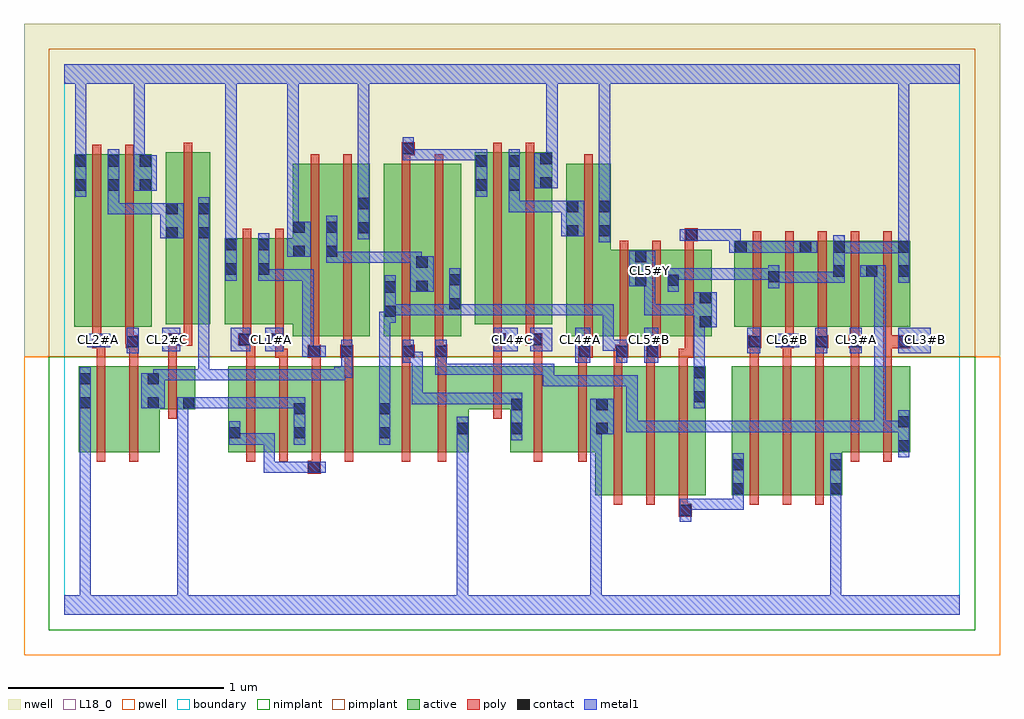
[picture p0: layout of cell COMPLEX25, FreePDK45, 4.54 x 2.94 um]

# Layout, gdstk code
import gdstk
lib = gdstk.Library(unit=1e-6, precision=1e-09)
def R(c, l, rs):  # rectangles x0, y0, x1, y1
    for r in rs: c.add(gdstk.rectangle(r[:2], r[2:], *l))
def A(c, l, x, y, w, h, nx, ny, dx, dy):  # array of equal rectangles
    R(c, l, [(x+i*dx, y+j*dy, x+i*dx+w, y+j*dy+h) for i in range(nx) for j in range(ny)])
active = (1, 0)
pwell = (2, 0)
nwell = (3, 0)
nimplant = (4, 0)
pimplant = (5, 0)
poly = (9, 0)
contact = (10, 0)
metal1 = (11, 0)
L18_0 = (18, 0)
boundary = (235, 0)

complex25 = lib.new_cell('COMPLEX25')
R(complex25, active, [(2.468,0.556,2.648,1.156), (2.648,0.556,2.8,1.156), (2.8,0.556,2.98,1.156), (2.92,0.556,2.98,1.156), (3.102,0.556,3.282,1.156), (3.102,0.556,3.162,0.728), (3.282,0.556,3.434,1.156), (3.434,0.556,3.614,1.156), (3.554,0.556,3.614,0.756), (2.468,0.662,2.528,1.05), (0.066,0.756,0.126,1.156), (0.066,0.756,0.246,1.156), (0.246,0.756,0.442,1.156), (0.382,0.756,0.442,1.156), (0.762,0.756,0.822,1.156), (0.762,0.756,0.942,1.156), (0.942,0.756,1.122,1.156), (1.062,0.756,1.122,0.988), (1.062,0.756,1.246,1.156), (1.246,0.756,1.518,1.156), (1.458,0.756,1.678,1.156), (1.458,0.756,1.518,0.988), (1.678,0.756,1.88,1.156), (1.82,0.756,1.88,0.966), (2.072,0.756,2.276,1.156), (2.276,0.756,2.528,1.156), (3.554,0.756,3.75,1.156), (3.75,0.756,3.93,1.156), (3.87,0.756,3.93,1.156), (2.072,0.836,2.132,1.048), (0.382,0.956,0.608,1.156), (0.548,0.956,0.608,1.156), (1.82,0.956,2.132,1.156), (1.06,1.296,1.272,2.096), (1.212,1.296,1.42,2.096), (1.484,1.296,1.692,2.096), (1.484,1.296,1.544,2.044), (1.632,1.296,1.844,2.096), (1.784,1.296,1.844,2.044), (2.332,1.296,2.54,2.096), (2.332,1.296,2.392,2.044), (2.48,1.296,2.708,1.696), (2.648,1.296,2.708,1.696), (2.648,1.296,2.86,1.696), (2.8,1.296,3.008,1.696), (2.948,1.296,3.008,1.644), (2.8,1.336,2.86,1.696), (0.046,1.34,0.106,2.14), (0.046,1.34,0.258,2.14), (0.198,1.34,0.406,2.14), (0.346,1.34,0.406,2.14), (3.114,1.34,3.326,1.74), (3.266,1.34,3.474,1.74), (3.414,1.34,3.63,1.74), (3.57,1.34,3.782,1.74), (3.722,1.34,3.93,1.74), (3.87,1.34,3.93,1.74), (0.47,1.35,0.678,2.15), (0.47,1.35,0.53,2.044), (0.618,1.35,0.678,2.044), (0.744,1.35,0.804,1.75), (0.744,1.35,0.956,1.75), (0.896,1.35,1.12,1.75), (1.06,1.35,1.12,1.86), (1.212,1.35,1.272,2.044), (1.908,1.35,1.968,2.15), (1.908,1.35,2.12,2.15), (2.06,1.35,2.268,2.15), (2.208,1.35,2.268,2.15), (0.896,1.354,0.956,1.75), (3.722,1.368,3.782,1.644), (3.266,1.376,3.326,1.644), (3.414,1.376,3.474,1.74), (3.57,1.376,3.63,1.74), (1.36,1.452,1.42,2.044), (3.114,1.452,3.174,1.74), (1.632,1.498,1.692,2.044), (2.48,1.64,2.54,1.928), (0.198,1.686,0.258,2.14), (2.06,1.686,2.12,2.14)])
R(complex25, pwell, [(-0.188,-0.188,4.348,1.2)])
R(complex25, nwell, [(-0.188,1.2,4.348,2.748)])
R(complex25, nimplant, [(-0.072,-0.072,4.232,1.2)])
R(complex25, pimplant, [(-0.072,1.2,4.232,2.632)])
A(complex25, poly, 2.552, 0.512, 0.04, 0.688, 3, 1, 0.152, 0)
A(complex25, poly, 3.186, 0.512, 0.04, 0.688, 3, 1, 0.152, 0)
A(complex25, poly, 0.846, 0.712, 0.04, 0.488, 4, 1, 0.152, 0)
A(complex25, poly, 0.998, 1.16, 0.04, 0.076, 3, 1, 0.152, 0)
A(complex25, poly, 2.552, 1.16, 0.04, 0.076, 3, 1, 0.152, 0)
A(complex25, poly, 3.186, 1.16, 0.04, 0.12, 3, 1, 0.152, 0)
A(complex25, poly, 2.58, 1.252, 0.04, 0.488, 3, 1, 0.152, 0)
A(complex25, poly, 3.198, 1.26, 0.04, 0.076, 5, 1, 0.152, 0)
A(complex25, poly, 3.198, 1.296, 0.04, 0.488, 5, 1, 0.152, 0)
R(complex25, poly, [(2.856,0.456,2.916,0.516), (2.856,0.476,2.896,0.552), (1.13,0.656,1.19,0.716), (1.15,0.676,1.19,0.752), (0.15,0.712,0.19,1.2), (0.302,0.712,0.342,1.2), (1.568,0.712,1.608,1.2), (1.734,0.712,1.774,1.2), (2.18,0.712,2.22,1.2), (2.388,0.712,2.428,1.2), (3.654,0.712,3.694,1.2), (3.806,0.712,3.846,1.2), (0.482,0.912,0.522,1.2), (1.992,0.912,2.032,1.2), (0.15,1.16,0.19,1.28), (0.302,1.16,0.342,1.28), (0.482,1.16,0.522,1.29), (0.846,1.16,0.886,1.29), (1.568,1.16,1.608,1.236), (1.734,1.16,1.774,1.236), (1.992,1.16,2.032,1.29), (2.18,1.16,2.22,1.29), (2.388,1.16,2.428,1.236), (3.654,1.16,3.694,1.28), (3.806,1.16,3.846,1.28), (0.98,1.196,1.02,1.29), (0.98,1.196,1.038,1.236), (1.13,1.196,1.19,1.256), (1.15,1.196,1.19,1.236), (1.15,1.196,1.19,1.236), (1.282,1.196,1.342,1.256), (1.568,1.196,1.628,1.256), (1.72,1.196,1.78,1.256), (2.388,1.196,2.428,1.236), (2.388,1.196,2.428,1.236), (2.388,1.196,2.456,1.256), (2.552,1.196,2.6,1.236), (2.56,1.196,2.6,1.236), (2.56,1.196,2.62,1.256), (2.704,1.196,2.744,1.236), (2.704,1.196,2.744,1.236), (2.704,1.196,2.772,1.256), (2.856,1.196,2.924,1.236), (2.884,1.196,2.924,1.236), (2.884,1.196,2.924,1.236), (2.884,1.196,2.924,1.292), (1.144,1.216,1.184,1.292), (1.296,1.216,1.336,1.292), (1.296,1.216,1.336,1.256), (1.296,1.216,1.336,1.256), (1.568,1.216,1.608,1.292), (1.568,1.216,1.608,1.256), (1.568,1.216,1.608,1.256), (1.72,1.216,1.76,1.292), (1.72,1.216,1.76,1.256), (1.72,1.216,1.76,1.256), (2.416,1.216,2.456,1.292), (2.58,1.216,2.62,1.292), (2.732,1.216,2.772,1.292), (0.13,1.24,0.19,1.3), (0.286,1.24,0.346,1.3), (3.178,1.24,3.238,1.3), (3.33,1.24,3.39,1.3), (3.338,1.24,3.378,1.28), (3.338,1.24,3.378,1.28), (3.49,1.24,3.53,1.28), (3.49,1.24,3.53,1.28), (3.49,1.24,3.55,1.3), (3.646,1.24,3.706,1.3), (3.654,1.24,3.694,1.28), (3.654,1.24,3.694,1.28), (3.806,1.24,3.846,1.28), (3.806,1.24,3.846,1.28), (3.806,1.24,3.93,1.3), (0.482,1.25,0.522,1.29), (0.482,1.25,0.522,1.29), (0.482,1.25,0.594,1.31), (0.808,1.25,0.868,1.31), (0.828,1.25,0.868,1.29), (0.828,1.25,0.886,1.29), (0.96,1.25,1.02,1.31), (1.992,1.25,2.032,1.29), (1.992,1.25,2.032,1.29), (1.992,1.25,2.052,1.31), (2.144,1.25,2.22,1.31), (2.18,1.25,2.22,1.29), (2.18,1.25,2.22,1.29), (1.144,1.252,1.184,2.14), (1.296,1.252,1.336,2.14), (1.568,1.252,1.608,2.14), (1.72,1.252,1.76,2.14), (2.416,1.252,2.456,2.14), (0.13,1.26,0.17,1.336), (0.13,1.26,0.17,1.3), (0.13,1.26,0.17,1.3), (0.282,1.26,0.322,1.336), (0.282,1.26,0.326,1.3), (0.286,1.26,0.326,1.3), (3.198,1.26,3.238,1.3), (3.198,1.26,3.238,1.3), (0.554,1.27,0.594,1.346), (0.828,1.27,0.868,1.346), (0.98,1.27,1.02,1.346), (1.992,1.27,2.032,1.346), (2.144,1.27,2.184,1.346), (0.13,1.296,0.17,2.184), (0.282,1.296,0.322,2.184), (0.554,1.306,0.594,2.194), (0.828,1.306,0.868,1.794), (0.98,1.306,1.02,1.794), (1.992,1.306,2.032,2.194), (2.144,1.306,2.184,2.194), (2.884,1.7,2.924,1.776), (2.884,1.736,2.944,1.796), (1.568,2.1,1.608,2.176), (1.568,2.136,1.628,2.196)])
R(complex25, contact, [(2.86,0.46,2.912,0.512), (3.106,0.56,3.158,0.612), (3.558,0.56,3.61,0.612), (1.134,0.66,1.186,0.712), (3.106,0.672,3.158,0.724), (3.558,0.672,3.61,0.724), (3.874,0.76,3.926,0.812), (0.766,0.82,0.818,0.872), (1.066,0.82,1.118,0.872), (1.462,0.82,1.514,0.872), (1.824,0.84,1.876,0.892), (2.076,0.84,2.128,0.892), (2.472,0.84,2.524,0.892), (3.874,0.872,3.926,0.924), (1.066,0.932,1.118,0.984), (1.462,0.932,1.514,0.984), (2.076,0.952,2.128,1.004), (2.472,0.952,2.524,1.004), (0.07,0.96,0.122,1.012), (0.386,0.96,0.438,1.012), (0.552,0.96,0.604,1.012), (2.924,0.988,2.976,1.04), (0.07,1.072,0.122,1.124), (0.386,1.072,0.438,1.124), (2.924,1.1,2.976,1.152), (1.134,1.2,1.186,1.252), (1.286,1.2,1.338,1.252), (1.572,1.2,1.624,1.252), (1.724,1.2,1.776,1.252), (2.392,1.2,2.444,1.252), (2.564,1.2,2.616,1.252), (2.708,1.2,2.76,1.252), (0.134,1.244,0.186,1.296), (0.29,1.244,0.342,1.296), (3.182,1.244,3.234,1.296), (3.334,1.244,3.386,1.296), (3.494,1.244,3.546,1.296), (3.65,1.244,3.702,1.296), (3.874,1.244,3.926,1.296), (0.486,1.254,0.538,1.306), (0.812,1.254,0.864,1.306), (0.964,1.254,1.016,1.306), (1.996,1.254,2.048,1.306), (2.164,1.254,2.216,1.306), (2.952,1.336,3.004,1.388), (1.488,1.386,1.54,1.438), (1.788,1.42,1.84,1.472), (2.952,1.448,3.004,1.5), (1.488,1.498,1.54,1.55), (1.636,1.502,1.688,1.554), (2.652,1.528,2.704,1.58), (2.804,1.53,2.856,1.582), (1.788,1.532,1.84,1.584), (3.27,1.546,3.322,1.598), (3.574,1.572,3.626,1.624), (3.726,1.572,3.778,1.624), (3.874,1.572,3.926,1.624), (0.748,1.582,0.8,1.634), (0.9,1.582,0.952,1.634), (1.636,1.614,1.688,1.666), (2.652,1.64,2.704,1.692), (1.064,1.664,1.116,1.716), (1.216,1.664,1.268,1.716), (3.118,1.684,3.17,1.736), (3.418,1.684,3.47,1.736), (3.574,1.684,3.626,1.736), (3.874,1.684,3.926,1.736), (0.748,1.694,0.8,1.746), (0.9,1.694,0.952,1.746), (2.888,1.74,2.94,1.792), (0.474,1.75,0.526,1.802), (0.622,1.75,0.674,1.802), (2.336,1.76,2.388,1.812), (2.484,1.76,2.536,1.812), (1.364,1.774,1.416,1.826), (1.064,1.776,1.116,1.828), (1.216,1.776,1.268,1.828), (0.474,1.862,0.526,1.914), (0.622,1.862,0.674,1.914), (2.336,1.872,2.388,1.924), (2.484,1.872,2.536,1.924), (1.364,1.886,1.416,1.938), (0.05,1.972,0.102,2.024), (0.202,1.972,0.254,2.024), (0.35,1.972,0.402,2.024), (1.912,1.972,1.964,2.024), (2.064,1.972,2.116,2.024), (2.212,1.982,2.264,2.034), (0.05,2.084,0.102,2.136), (0.202,2.084,0.254,2.136), (0.35,2.084,0.402,2.136), (1.912,2.084,1.964,2.136), (2.064,2.084,2.116,2.136), (2.212,2.094,2.264,2.146), (1.572,2.14,1.624,2.192)])
R(complex25, metal1, [(0,0,4.16,0.092), (0.07,0.04,0.122,0.092), (0.07,0.04,0.122,0.092), (0.07,0.04,0.122,0.092), (0.07,0.04,0.122,0.092), (0.07,0.04,0.122,0.092), (0.07,0.04,0.122,0.092), (0.07,0.04,0.122,0.092), (0.07,0.04,0.122,0.092), (0.07,0.04,0.122,0.092), (0.07,0.04,0.122,0.092), (0.07,0.04,0.122,0.092), (0.07,0.04,0.122,0.092), (0.07,0.04,0.122,0.984), (0.524,0.04,0.576,0.356), (1.824,0.04,1.876,0.092), (1.824,0.04,1.876,0.092), (1.824,0.04,1.876,0.092), (1.824,0.04,1.876,0.092), (1.824,0.04,1.876,0.092), (1.824,0.04,1.876,0.092), (1.824,0.04,1.876,0.092), (1.824,0.04,1.876,0.092), (1.824,0.04,1.876,0.092), (1.824,0.04,1.876,0.092), (1.824,0.04,1.876,0.092), (1.824,0.04,1.876,0.092), (1.824,0.04,1.876,0.864), (2.444,0.04,2.496,0.092), (2.444,0.04,2.496,0.092), (2.444,0.04,2.496,0.092), (2.444,0.04,2.496,0.092), (2.444,0.04,2.496,0.092), (2.444,0.04,2.496,0.092), (2.444,0.04,2.496,0.092), (2.444,0.04,2.496,0.092), (2.444,0.04,2.496,0.892), (3.558,0.04,3.61,0.584), (0.524,0.304,0.576,0.356), (0.524,0.304,0.576,0.356), (0.524,0.304,0.576,0.356), (0.524,0.304,0.576,0.356), (0.524,0.304,0.576,0.356), (0.524,0.304,0.576,0.356), (0.524,0.304,0.576,0.356), (0.524,0.304,0.576,0.356), (0.524,0.304,0.576,0.356), (0.524,0.304,0.576,0.356), (0.524,0.304,0.576,0.356), (0.524,0.304,0.576,0.356), (0.524,0.304,0.576,0.356), (0.524,0.304,0.576,0.356), (0.524,0.304,0.576,0.356), (0.524,0.304,0.576,1.012), (2.86,0.432,2.912,0.54), (2.86,0.488,2.966,0.54), (2.914,0.488,2.966,0.54), (2.914,0.488,3.158,0.54), (3.106,0.488,3.158,0.54), (3.106,0.488,3.158,0.584), (3.106,0.532,3.158,0.752), (3.558,0.532,3.61,0.584), (3.558,0.532,3.61,0.584), (3.558,0.532,3.61,0.584), (3.558,0.532,3.61,0.584), (3.558,0.532,3.61,0.584), (3.558,0.532,3.61,0.584), (3.558,0.532,3.61,0.584), (3.558,0.532,3.61,0.584), (3.558,0.532,3.61,0.752), (0.926,0.66,0.978,0.712), (0.926,0.66,0.978,0.712), (0.926,0.66,0.978,0.712), (0.926,0.66,1.158,0.712), (0.926,0.66,0.978,0.844), (1.106,0.66,1.158,0.712), (1.106,0.66,1.158,0.712), (1.106,0.66,1.214,0.712), (3.874,0.732,3.926,0.952), (0.766,0.792,0.818,0.844), (0.766,0.792,0.818,0.844), (0.766,0.792,0.818,0.9), (0.766,0.792,0.978,0.844), (0.926,0.792,0.978,0.844), (1.066,0.792,1.118,1.012), (1.462,0.792,1.514,1.012), (1.824,0.812,1.876,0.92), (2.076,0.812,2.128,1.032), (2.444,0.84,2.552,1.004), (2.612,0.85,2.664,0.902), (2.612,0.85,2.664,0.902), (2.612,0.85,2.664,0.902), (2.612,0.85,2.856,0.902), (2.612,0.85,2.664,1.114), (2.804,0.85,2.856,0.902), (2.804,0.85,2.856,0.902), (2.804,0.85,2.856,0.902), (2.804,0.85,3.088,0.902), (3.036,0.85,3.088,0.902), (3.036,0.85,3.088,0.902), (3.036,0.85,3.088,0.902), (3.036,0.85,3.088,0.902), (3.036,0.85,3.088,0.902), (3.036,0.85,3.198,0.902), (3.146,0.85,3.198,0.902), (3.146,0.85,3.332,0.902), (3.28,0.85,3.332,0.902), (3.28,0.85,3.332,0.902), (3.28,0.85,3.332,0.902), (3.28,0.85,3.5,0.902), (3.448,0.85,3.5,0.902), (3.448,0.85,3.5,0.902), (3.448,0.85,3.5,0.902), (3.448,0.85,3.64,0.902), (3.588,0.85,3.64,0.902), (3.588,0.85,3.816,0.902), (3.764,0.85,3.816,0.902), (3.764,0.85,3.816,0.902), (3.764,0.85,3.816,0.902), (3.764,0.85,3.816,0.902), (3.764,0.85,3.816,0.902), (3.764,0.85,3.816,0.902), (3.764,0.85,3.816,0.902), (3.764,0.85,3.926,0.902), (3.764,0.85,3.816,1.624), (3.874,0.85,3.926,0.902), (3.874,0.85,3.926,0.902), (0.07,0.932,0.122,1.152), (0.358,0.96,0.466,1.124), (0.524,0.96,0.632,1.012), (0.58,0.96,0.632,1.012), (0.58,0.96,0.632,1.012), (0.58,0.96,0.796,1.012), (0.744,0.96,0.796,1.012), (0.744,0.96,0.796,1.012), (0.744,0.96,0.796,1.012), (0.744,0.96,0.978,1.012), (0.926,0.96,0.978,1.012), (0.926,0.96,0.978,1.012), (0.926,0.96,0.978,1.012), (0.926,0.96,1.118,1.012), (1.462,0.96,1.514,1.012), (1.462,0.96,1.514,1.012), (1.462,0.96,1.514,1.012), (1.462,0.96,1.514,1.012), (1.462,0.96,1.514,1.41), (2.924,0.96,2.976,1.18), (1.614,0.98,1.666,1.032), (1.614,0.98,1.798,1.032), (1.614,0.98,1.666,1.224), (1.746,0.98,1.798,1.032), (1.746,0.98,1.798,1.032), (1.746,0.98,1.798,1.032), (1.746,0.98,1.95,1.032), (1.898,0.98,1.95,1.032), (1.898,0.98,1.95,1.032), (1.898,0.98,1.95,1.032), (1.898,0.98,2.128,1.032), (2.224,1.062,2.276,1.114), (2.224,1.062,2.444,1.114), (2.224,1.062,2.276,1.168), (2.392,1.062,2.444,1.114), (2.392,1.062,2.554,1.114), (2.502,1.062,2.554,1.114), (2.502,1.062,2.554,1.114), (2.502,1.062,2.554,1.114), (2.502,1.062,2.664,1.114), (2.612,1.062,2.664,1.114), (0.412,1.072,0.464,1.142), (0.412,1.09,0.464,1.142), (0.412,1.09,0.494,1.142), (0.442,1.09,0.494,1.142), (0.442,1.09,0.674,1.142), (0.622,1.09,0.674,1.142), (0.622,1.09,0.674,1.142), (0.622,1.09,0.674,1.142), (0.622,1.09,0.674,1.142), (0.622,1.09,0.674,1.142), (0.622,1.09,0.784,1.142), (0.622,1.09,0.674,1.774), (0.732,1.09,0.784,1.142), (0.732,1.09,0.936,1.142), (0.884,1.09,0.936,1.142), (0.884,1.09,0.936,1.142), (0.884,1.09,0.936,1.142), (0.884,1.09,1.126,1.142), (1.074,1.09,1.126,1.142), (1.074,1.09,1.126,1.142), (1.074,1.09,1.126,1.142), (1.074,1.09,1.306,1.142), (1.254,1.09,1.306,1.154), (1.254,1.102,1.338,1.154), (1.286,1.102,1.338,1.28), (1.724,1.116,1.776,1.224), (1.724,1.116,1.95,1.168), (1.898,1.116,1.95,1.168), (1.898,1.116,1.95,1.168), (1.898,1.116,1.95,1.168), (1.898,1.116,2.06,1.168), (2.008,1.116,2.06,1.168), (2.008,1.116,2.06,1.168), (2.008,1.116,2.06,1.168), (2.008,1.116,2.276,1.168), (2.224,1.116,2.276,1.168), (2.224,1.116,2.276,1.168), (2.224,1.116,2.276,1.168), (2.924,1.128,2.976,1.18), (2.924,1.128,2.976,1.18), (2.924,1.128,2.976,1.18), (2.924,1.128,2.976,1.18), (2.924,1.128,2.976,1.388), (1.572,1.172,1.624,1.28), (1.572,1.172,1.666,1.224), (1.614,1.172,1.666,1.224), (1.724,1.172,1.776,1.224), (1.724,1.172,1.776,1.28), (2.374,1.172,2.444,1.334), (2.564,1.172,2.616,1.28), (2.694,1.172,2.76,1.334), (1.106,1.2,1.158,1.252), (1.106,1.2,1.158,1.252), (1.106,1.2,1.214,1.252), (1.106,1.2,1.158,1.606), (0.29,1.216,0.346,1.334), (3.174,1.216,3.234,1.334), (3.49,1.216,3.546,1.334), (3.65,1.216,3.706,1.334), (3.874,1.216,4.026,1.334), (0.454,1.226,0.538,1.334), (0.774,1.226,0.864,1.334), (0.934,1.226,1.016,1.334), (1.996,1.226,2.106,1.334), (2.164,1.226,2.266,1.334), (2.502,1.228,2.554,1.28), (2.502,1.228,2.616,1.28), (2.502,1.228,2.554,1.444), (0.106,1.244,0.214,1.306), (3.306,1.244,3.414,1.306), (2.924,1.336,3.032,1.5), (1.462,1.358,1.514,1.41), (1.462,1.358,1.54,1.41), (1.488,1.358,1.54,1.578), (1.488,1.392,1.65,1.444), (1.598,1.392,1.65,1.444), (1.598,1.392,1.65,1.444), (1.598,1.392,1.65,1.444), (1.598,1.392,1.84,1.444), (1.788,1.392,1.84,1.444), (1.788,1.392,1.84,1.444), (1.788,1.392,1.84,1.612), (1.788,1.392,1.95,1.444), (1.898,1.392,1.95,1.444), (1.898,1.392,1.95,1.444), (1.898,1.392,1.95,1.444), (1.898,1.392,2.06,1.444), (2.008,1.392,2.06,1.444), (2.008,1.392,2.06,1.444), (2.008,1.392,2.06,1.444), (2.008,1.392,2.276,1.444), (2.224,1.392,2.276,1.444), (2.224,1.392,2.386,1.444), (2.334,1.392,2.386,1.444), (2.334,1.392,2.386,1.444), (2.334,1.392,2.386,1.444), (2.334,1.392,2.554,1.444), (2.502,1.392,2.554,1.444), (2.694,1.392,2.746,1.444), (2.694,1.392,2.746,1.444), (2.694,1.392,2.746,1.444), (2.694,1.392,2.856,1.444), (2.694,1.392,2.746,1.58), (2.804,1.392,2.856,1.444), (2.804,1.392,2.976,1.444), (2.924,1.392,2.976,1.444), (2.924,1.392,2.976,1.444), (1.608,1.502,1.716,1.666), (2.804,1.502,2.856,1.61), (3.27,1.518,3.322,1.626), (2.624,1.528,2.746,1.692), (3.27,1.544,3.322,1.596), (3.27,1.544,3.322,1.596), (3.27,1.544,3.5,1.596), (3.448,1.544,3.5,1.596), (3.448,1.544,3.5,1.596), (3.448,1.544,3.5,1.596), (3.448,1.544,3.626,1.596), (3.574,1.544,3.626,1.596), (3.574,1.544,3.626,1.596), (3.574,1.544,3.626,1.764), (3.874,1.544,3.926,1.764), (0.748,1.554,0.8,1.774), (0.9,1.554,0.952,1.606), (0.9,1.554,0.952,1.606), (0.9,1.554,0.952,1.774), (0.9,1.554,1.158,1.606), (1.106,1.554,1.158,1.606), (2.804,1.558,2.856,1.61), (2.804,1.558,2.856,1.61), (2.804,1.558,3.088,1.61), (3.036,1.558,3.088,1.61), (3.036,1.558,3.198,1.61), (3.146,1.558,3.198,1.61), (3.146,1.558,3.198,1.61), (3.146,1.558,3.198,1.61), (3.146,1.558,3.322,1.61), (3.698,1.572,3.816,1.624), (1.608,1.614,1.66,1.666), (1.608,1.614,1.66,1.688), (1.216,1.636,1.268,1.688), (1.216,1.636,1.268,1.688), (1.216,1.636,1.268,1.856), (1.216,1.636,1.514,1.688), (1.462,1.636,1.514,1.688), (1.462,1.636,1.514,1.688), (1.462,1.636,1.514,1.688), (1.462,1.636,1.66,1.688), (1.036,1.664,1.144,1.828), (3.574,1.682,3.75,1.734), (3.698,1.682,3.75,1.734), (3.698,1.682,3.75,1.734), (3.698,1.682,3.75,1.734), (3.698,1.682,3.926,1.734), (3.874,1.682,3.926,1.734), (3.874,1.682,3.926,1.734), (3.09,1.684,3.198,1.736), (3.09,1.684,3.142,1.792), (3.146,1.684,3.198,1.736), (3.146,1.684,3.198,1.736), (3.146,1.684,3.308,1.736), (3.256,1.684,3.308,1.736), (3.256,1.684,3.308,1.736), (3.256,1.684,3.308,1.736), (3.256,1.684,3.442,1.736), (3.39,1.684,3.498,1.736), (3.874,1.712,3.926,2.52), (0.622,1.722,0.674,1.942), (0.748,1.722,0.8,1.774), (0.748,1.722,0.8,1.774), (0.748,1.722,0.8,2.52), (2.484,1.732,2.536,1.952), (2.86,1.74,2.968,1.792), (2.916,1.74,2.968,1.792), (2.916,1.74,2.968,1.792), (2.916,1.74,3.142,1.792), (3.09,1.74,3.142,1.792), (1.364,1.746,1.416,1.966), (0.446,1.75,0.554,1.914), (2.308,1.76,2.416,1.924), (1.036,1.776,1.088,2.52), (0.202,1.862,0.364,1.914), (0.202,1.862,0.254,1.996), (0.312,1.862,0.364,1.914), (0.312,1.862,0.498,1.914), (2.064,1.872,2.276,1.924), (2.064,1.872,2.116,1.996), (2.224,1.872,2.276,1.924), (2.224,1.872,2.36,1.924), (2.484,1.9,2.536,1.952), (2.484,1.9,2.536,1.952), (2.484,1.9,2.536,1.952), (2.484,1.9,2.536,1.952), (2.484,1.9,2.536,1.952), (2.484,1.9,2.536,1.952), (2.484,1.9,2.536,1.952), (2.484,1.9,2.536,1.952), (2.484,1.9,2.536,2.52), (1.364,1.914,1.416,2.52), (0.05,1.944,0.102,2.164), (0.202,1.944,0.254,1.996), (0.202,1.944,0.254,2.164), (1.912,1.944,1.964,2.164), (2.064,1.944,2.116,1.996), (2.064,1.944,2.116,2.164), (0.322,1.972,0.43,2.136), (2.184,1.982,2.292,2.146), (0.322,2.084,0.374,2.52), (2.24,2.094,2.292,2.146), (2.24,2.094,2.292,2.146), (2.24,2.094,2.292,2.146), (2.24,2.094,2.292,2.146), (2.24,2.094,2.292,2.52), (0.05,2.112,0.102,2.52), (1.572,2.112,1.624,2.22), (1.572,2.112,1.65,2.164), (1.598,2.112,1.65,2.164), (1.598,2.112,1.84,2.164), (1.788,2.112,1.84,2.164), (1.788,2.112,1.84,2.164), (1.788,2.112,1.84,2.164), (1.788,2.112,1.964,2.164), (1.912,2.112,1.964,2.164), (1.912,2.112,1.964,2.164), (0,2.468,4.16,2.56), (0.05,2.468,0.102,2.52), (0.05,2.468,0.102,2.52), (0.05,2.468,0.102,2.52), (0.05,2.468,0.102,2.52), (0.05,2.468,0.102,2.52), (0.05,2.468,0.102,2.52), (0.05,2.468,0.102,2.52), (0.05,2.468,0.102,2.52), (0.322,2.468,0.374,2.52), (0.322,2.468,0.374,2.52), (0.322,2.468,0.374,2.52), (0.322,2.468,0.374,2.52), (0.322,2.468,0.374,2.52), (0.322,2.468,0.374,2.52), (0.322,2.468,0.374,2.52), (0.322,2.468,0.374,2.52), (0.748,2.468,0.8,2.52), (0.748,2.468,0.8,2.52), (0.748,2.468,0.8,2.52), (0.748,2.468,0.8,2.52), (0.748,2.468,0.8,2.52), (0.748,2.468,0.8,2.52), (0.748,2.468,0.8,2.52), (0.748,2.468,0.8,2.52), (0.748,2.468,0.8,2.52), (0.748,2.468,0.8,2.52), (0.748,2.468,0.8,2.52), (0.748,2.468,0.8,2.52), (0.748,2.468,0.8,2.52), (0.748,2.468,0.8,2.52), (1.036,2.468,1.088,2.52), (1.036,2.468,1.088,2.52), (1.036,2.468,1.088,2.52), (1.036,2.468,1.088,2.52), (1.036,2.468,1.088,2.52), (1.036,2.468,1.088,2.52), (1.036,2.468,1.088,2.52), (1.036,2.468,1.088,2.52), (1.364,2.468,1.416,2.52), (1.364,2.468,1.416,2.52), (1.364,2.468,1.416,2.52), (1.364,2.468,1.416,2.52), (1.364,2.468,1.416,2.52), (1.364,2.468,1.416,2.52), (1.364,2.468,1.416,2.52), (1.364,2.468,1.416,2.52), (2.24,2.468,2.292,2.52), (2.24,2.468,2.292,2.52), (2.24,2.468,2.292,2.52), (2.24,2.468,2.292,2.52), (3.874,2.468,3.926,2.52), (3.874,2.468,3.926,2.52), (3.874,2.468,3.926,2.52), (3.874,2.468,3.926,2.52), (3.874,2.468,3.926,2.52), (3.874,2.468,3.926,2.52), (3.874,2.468,3.926,2.52), (3.874,2.468,3.926,2.52), (3.874,2.468,3.926,2.52), (3.874,2.468,3.926,2.52), (3.874,2.468,3.926,2.52), (3.874,2.468,3.926,2.52), (3.874,2.468,3.926,2.52), (3.874,2.468,3.926,2.52), (3.874,2.468,3.926,2.52), (3.874,2.468,3.926,2.52)])
A(complex25, L18_0, 0.134, 1.254, 0.052, 0.052, 3, 1, 0.16, 0)
A(complex25, L18_0, 2.054, 1.254, 0.052, 0.052, 3, 1, 0.16, 0)
A(complex25, L18_0, 3.174, 1.254, 0.052, 0.052, 4, 1, 0.16, 0)
R(complex25, L18_0, [(0,0,4.16,0.092), (0.07,0.04,0.122,0.092), (0.07,0.04,0.122,0.092), (0.07,0.04,0.122,0.092), (0.07,0.04,0.122,0.092), (0.07,0.04,0.122,0.092), (0.07,0.04,0.122,0.092), (0.07,0.04,0.122,0.092), (0.07,0.04,0.122,0.092), (0.07,0.04,0.122,0.092), (0.07,0.04,0.122,0.092), (0.07,0.04,0.122,0.092), (0.07,0.04,0.122,0.092), (0.07,0.04,0.122,0.984), (0.524,0.04,0.576,0.356), (1.824,0.04,1.876,0.092), (1.824,0.04,1.876,0.092), (1.824,0.04,1.876,0.092), (1.824,0.04,1.876,0.092), (1.824,0.04,1.876,0.092), (1.824,0.04,1.876,0.092), (1.824,0.04,1.876,0.092), (1.824,0.04,1.876,0.092), (1.824,0.04,1.876,0.092), (1.824,0.04,1.876,0.092), (1.824,0.04,1.876,0.092), (1.824,0.04,1.876,0.092), (1.824,0.04,1.876,0.864), (2.444,0.04,2.496,0.092), (2.444,0.04,2.496,0.092), (2.444,0.04,2.496,0.092), (2.444,0.04,2.496,0.092), (2.444,0.04,2.496,0.092), (2.444,0.04,2.496,0.092), (2.444,0.04,2.496,0.092), (2.444,0.04,2.496,0.092), (2.444,0.04,2.496,0.892), (3.558,0.04,3.61,0.584), (0.524,0.304,0.576,0.356), (0.524,0.304,0.576,0.356), (0.524,0.304,0.576,0.356), (0.524,0.304,0.576,0.356), (0.524,0.304,0.576,0.356), (0.524,0.304,0.576,0.356), (0.524,0.304,0.576,0.356), (0.524,0.304,0.576,0.356), (0.524,0.304,0.576,0.356), (0.524,0.304,0.576,0.356), (0.524,0.304,0.576,0.356), (0.524,0.304,0.576,0.356), (0.524,0.304,0.576,0.356), (0.524,0.304,0.576,0.356), (0.524,0.304,0.576,0.356), (0.524,0.304,0.576,1.012), (3.558,0.532,3.61,0.584), (3.558,0.532,3.61,0.584), (3.558,0.532,3.61,0.584), (3.558,0.532,3.61,0.584), (3.558,0.532,3.61,0.584), (3.558,0.532,3.61,0.584), (3.558,0.532,3.61,0.584), (3.558,0.532,3.61,0.584), (3.558,0.532,3.61,0.752), (1.066,0.792,1.118,1.012), (1.824,0.812,1.876,0.92), (2.444,0.84,2.552,1.004), (0.07,0.932,0.122,1.152), (0.524,0.96,0.632,1.012), (0.58,0.96,0.632,1.012), (0.58,0.96,0.632,1.012), (0.58,0.96,0.796,1.012), (0.744,0.96,0.796,1.012), (0.744,0.96,0.796,1.012), (0.744,0.96,0.796,1.012), (0.744,0.96,0.978,1.012), (0.926,0.96,0.978,1.012), (0.926,0.96,0.978,1.012), (0.926,0.96,0.978,1.012), (0.926,0.96,1.118,1.012), (2.924,0.96,2.976,1.18), (2.924,1.128,2.976,1.18), (2.924,1.128,2.976,1.18), (2.924,1.128,2.976,1.18), (2.924,1.128,2.976,1.18), (2.924,1.128,2.976,1.388), (2.374,1.172,2.444,1.334), (2.694,1.172,2.76,1.334), (0.29,1.216,0.346,1.334), (3.174,1.216,3.234,1.334), (3.49,1.216,3.546,1.334), (3.65,1.216,3.706,1.334), (3.874,1.216,4.026,1.334), (0.454,1.226,0.538,1.334), (0.774,1.226,0.864,1.334), (0.934,1.226,1.016,1.334), (1.996,1.226,2.106,1.334), (2.164,1.226,2.266,1.334), (0.106,1.244,0.214,1.306), (3.306,1.244,3.414,1.306), (0.774,1.254,0.826,1.306), (0.934,1.254,0.986,1.306), (2.694,1.254,2.746,1.306), (3.974,1.254,4.026,1.306), (2.924,1.336,3.032,1.5), (2.694,1.392,2.746,1.444), (2.694,1.392,2.746,1.444), (2.694,1.392,2.746,1.444), (2.694,1.392,2.746,1.58), (2.694,1.392,2.856,1.444), (2.804,1.392,2.856,1.444), (2.804,1.392,2.976,1.444), (2.924,1.392,2.976,1.444), (2.924,1.392,2.976,1.444), (2.804,1.502,2.856,1.61), (3.27,1.518,3.322,1.626), (2.624,1.528,2.746,1.692), (3.27,1.544,3.322,1.596), (3.27,1.544,3.322,1.596), (3.27,1.544,3.5,1.596), (3.448,1.544,3.5,1.596), (3.448,1.544,3.5,1.596), (3.448,1.544,3.5,1.596), (3.448,1.544,3.626,1.596), (3.574,1.544,3.626,1.596), (3.574,1.544,3.626,1.596), (3.574,1.544,3.626,1.764), (3.874,1.544,3.926,1.764), (0.748,1.554,0.8,1.774), (2.804,1.558,2.856,1.61), (2.804,1.558,2.856,1.61), (2.804,1.558,3.088,1.61), (3.036,1.558,3.088,1.61), (3.036,1.558,3.198,1.61), (3.146,1.558,3.198,1.61), (3.146,1.558,3.198,1.61), (3.146,1.558,3.198,1.61), (3.146,1.558,3.322,1.61), (2.694,1.574,2.746,1.626), (1.036,1.664,1.144,1.828), (3.574,1.682,3.75,1.734), (3.698,1.682,3.75,1.734), (3.698,1.682,3.75,1.734), (3.698,1.682,3.75,1.734), (3.698,1.682,3.926,1.734), (3.874,1.682,3.926,1.734), (3.874,1.682,3.926,1.734), (3.874,1.712,3.926,2.52), (0.748,1.722,0.8,1.774), (0.748,1.722,0.8,1.774), (0.748,1.722,0.8,2.52), (2.484,1.732,2.536,1.952), (1.364,1.746,1.416,1.966), (1.036,1.776,1.088,2.52), (2.484,1.9,2.536,1.952), (2.484,1.9,2.536,1.952), (2.484,1.9,2.536,1.952), (2.484,1.9,2.536,1.952), (2.484,1.9,2.536,1.952), (2.484,1.9,2.536,1.952), (2.484,1.9,2.536,1.952), (2.484,1.9,2.536,1.952), (2.484,1.9,2.536,2.52), (1.364,1.914,1.416,2.52), (0.05,1.944,0.102,2.164), (0.322,1.972,0.43,2.136), (2.184,1.982,2.292,2.146), (0.322,2.084,0.374,2.52), (2.24,2.094,2.292,2.146), (2.24,2.094,2.292,2.146), (2.24,2.094,2.292,2.146), (2.24,2.094,2.292,2.146), (2.24,2.094,2.292,2.52), (0.05,2.112,0.102,2.52), (0,2.468,4.16,2.56), (0.05,2.468,0.102,2.52), (0.05,2.468,0.102,2.52), (0.05,2.468,0.102,2.52), (0.05,2.468,0.102,2.52), (0.05,2.468,0.102,2.52), (0.05,2.468,0.102,2.52), (0.05,2.468,0.102,2.52), (0.05,2.468,0.102,2.52), (0.322,2.468,0.374,2.52), (0.322,2.468,0.374,2.52), (0.322,2.468,0.374,2.52), (0.322,2.468,0.374,2.52), (0.322,2.468,0.374,2.52), (0.322,2.468,0.374,2.52), (0.322,2.468,0.374,2.52), (0.322,2.468,0.374,2.52), (0.748,2.468,0.8,2.52), (0.748,2.468,0.8,2.52), (0.748,2.468,0.8,2.52), (0.748,2.468,0.8,2.52), (0.748,2.468,0.8,2.52), (0.748,2.468,0.8,2.52), (0.748,2.468,0.8,2.52), (0.748,2.468,0.8,2.52), (0.748,2.468,0.8,2.52), (0.748,2.468,0.8,2.52), (0.748,2.468,0.8,2.52), (0.748,2.468,0.8,2.52), (0.748,2.468,0.8,2.52), (0.748,2.468,0.8,2.52), (1.036,2.468,1.088,2.52), (1.036,2.468,1.088,2.52), (1.036,2.468,1.088,2.52), (1.036,2.468,1.088,2.52), (1.036,2.468,1.088,2.52), (1.036,2.468,1.088,2.52), (1.036,2.468,1.088,2.52), (1.036,2.468,1.088,2.52), (1.364,2.468,1.416,2.52), (1.364,2.468,1.416,2.52), (1.364,2.468,1.416,2.52), (1.364,2.468,1.416,2.52), (1.364,2.468,1.416,2.52), (1.364,2.468,1.416,2.52), (1.364,2.468,1.416,2.52), (1.364,2.468,1.416,2.52), (2.24,2.468,2.292,2.52), (2.24,2.468,2.292,2.52), (2.24,2.468,2.292,2.52), (2.24,2.468,2.292,2.52), (3.874,2.468,3.926,2.52), (3.874,2.468,3.926,2.52), (3.874,2.468,3.926,2.52), (3.874,2.468,3.926,2.52), (3.874,2.468,3.926,2.52), (3.874,2.468,3.926,2.52), (3.874,2.468,3.926,2.52), (3.874,2.468,3.926,2.52), (3.874,2.468,3.926,2.52), (3.874,2.468,3.926,2.52), (3.874,2.468,3.926,2.52), (3.874,2.468,3.926,2.52), (3.874,2.468,3.926,2.52), (3.874,2.468,3.926,2.52), (3.874,2.468,3.926,2.52), (3.874,2.468,3.926,2.52)])
R(complex25, boundary, [(0,0,4.16,2.56)])
complex25.add(gdstk.Label('CL1#A', (0.96,1.28), layer=11, texttype=0))
complex25.add(gdstk.Label('CL1#B', (0.8,1.28), layer=11, texttype=0))
complex25.add(gdstk.Label('CL2#A', (0.16,1.28), layer=11, texttype=0))
complex25.add(gdstk.Label('CL2#B', (0.32,1.28), layer=11, texttype=0))
complex25.add(gdstk.Label('CL2#C', (0.48,1.28), layer=11, texttype=0))
complex25.add(gdstk.Label('CL3#A', (3.68,1.28), layer=11, texttype=0))
complex25.add(gdstk.Label('CL3#B', (4,1.28), layer=11, texttype=0))
complex25.add(gdstk.Label('CL4#A', (2.4,1.28), layer=11, texttype=0))
complex25.add(gdstk.Label('CL4#B', (2.24,1.28), layer=11, texttype=0))
complex25.add(gdstk.Label('CL4#C', (2.08,1.28), layer=11, texttype=0))
complex25.add(gdstk.Label('CL5#B', (2.72,1.28), layer=11, texttype=0))
complex25.add(gdstk.Label('CL5#Y', (2.72,1.6), layer=11, texttype=0))
complex25.add(gdstk.Label('CL6#A', (3.52,1.28), layer=11, texttype=0))
complex25.add(gdstk.Label('CL6#B', (3.36,1.28), layer=11, texttype=0))
complex25.add(gdstk.Label('CL6#C', (3.2,1.28), layer=11, texttype=0))

lib.write_gds('COMPLEX25.gds')
